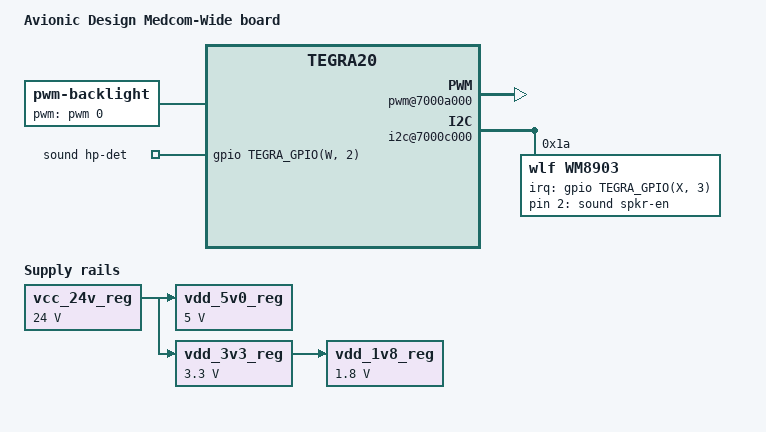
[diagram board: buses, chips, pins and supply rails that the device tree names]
/dts-v1/;

#include "tegra20-tamonten.dtsi"

/ {
	model = "Avionic Design Medcom-Wide board";
	compatible = "ad,medcom-wide", "ad,tamonten", "nvidia,tegra20";

	pwm@7000a000 {
		status = "okay";
	};

	i2c@7000c000 {
		wm8903: wm8903@1a {
			compatible = "wlf,wm8903";
			reg = <0x1a>;
			interrupt-parent = <&gpio>;
			interrupts = <TEGRA_GPIO(X, 3) IRQ_TYPE_LEVEL_HIGH>;

			gpio-controller;
			#gpio-cells = <2>;

			micdet-cfg = <0>;
			micdet-delay = <100>;
			gpio-cfg = <0xffffffff
				    0xffffffff
				    0
				    0xffffffff
				    0xffffffff>;
		};
	};

	backlight {
		compatible = "pwm-backlight";
		pwms = <&pwm 0 5000000>;

		brightness-levels = <0 4 8 16 32 64 128 255>;
		default-brightness-level = <6>;
	};

	sound {
		compatible = "ad,tegra-audio-wm8903-medcom-wide",
			     "nvidia,tegra-audio-wm8903";
		nvidia,model = "Avionic Design Medcom-Wide";

		nvidia,audio-routing =
			"Headphone Jack", "HPOUTR",
			"Headphone Jack", "HPOUTL",
			"Int Spk", "ROP",
			"Int Spk", "RON",
			"Int Spk", "LOP",
			"Int Spk", "LON",
			"Mic Jack", "MICBIAS",
			"IN1L", "Mic Jack";

		nvidia,i2s-controller = <&tegra_i2s1>;
		nvidia,audio-codec = <&wm8903>;

		nvidia,spkr-en-gpios = <&wm8903 2 GPIO_ACTIVE_HIGH>;
		nvidia,hp-det-gpios = <&gpio TEGRA_GPIO(W, 2) GPIO_ACTIVE_HIGH>;

		clocks = <&tegra_car TEGRA20_CLK_PLL_A>,
			 <&tegra_car TEGRA20_CLK_PLL_A_OUT0>,
			 <&tegra_car TEGRA20_CLK_CDEV1>;
		clock-names = "pll_a", "pll_a_out0", "mclk";
	};

	regulators {
		vcc_24v_reg: regulator@100 {
			compatible = "regulator-fixed";
			reg = <100>;
			regulator-name = "vcc_24v";
			regulator-min-microvolt = <24000000>;
			regulator-max-microvolt = <24000000>;
			regulator-always-on;
		};

		vdd_5v0_reg: regulator@101 {
			compatible = "regulator-fixed";
			reg = <101>;
			regulator-name = "vdd_5v0";
			vin-supply = <&vcc_24v_reg>;
			regulator-min-microvolt = <5000000>;
			regulator-max-microvolt = <5000000>;
			regulator-always-on;
		};

		vdd_3v3_reg: regulator@102 {
			compatible = "regulator-fixed";
			reg = <102>;
			regulator-name = "vdd_3v3";
			vin-supply = <&vcc_24v_reg>;
			regulator-min-microvolt = <3300000>;
			regulator-max-microvolt = <3300000>;
			regulator-always-on;
		};

		vdd_1v8_reg: regulator@103 {
			compatible = "regulator-fixed";
			reg = <103>;
			regulator-name = "vdd_1v8";
			vin-supply = <&vdd_3v3_reg>;
			regulator-min-microvolt = <1800000>;
			regulator-max-microvolt = <1800000>;
			regulator-always-on;
		};
	};
};
